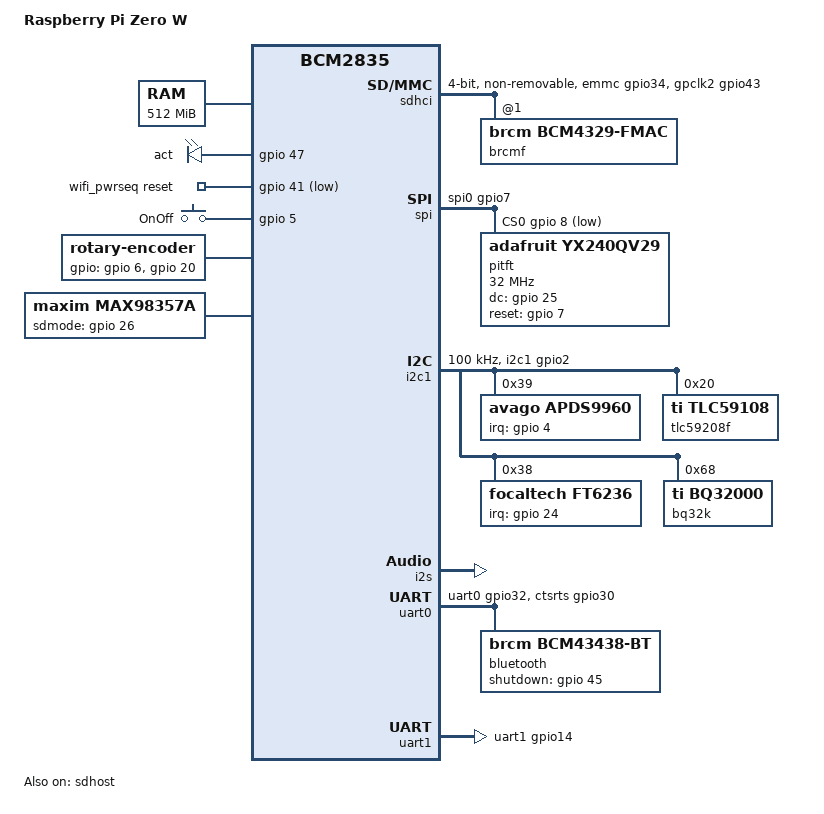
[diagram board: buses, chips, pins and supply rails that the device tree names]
// SPDX-License-Identifier: GPL-2.0+

/dts-v1/;
#include "bcm2835.dtsi"
#include "bcm2835-rpi.dtsi"
#include "bcm283x-rpi-usb-otg.dtsi"

#include <dt-bindings/input/input.h>

/ {
	compatible =
	"raspberrypi,model-zero-w",
	"brcm,bcm2835",
	"digitalrooster,3.0";
	model = "Raspberry Pi Zero W";

	memory@0 {
		device_type = "memory";
		reg = <0 0x20000000>;
	};

	/* uart1 is the serial console used during boot on gpio 14,15 */
	aliases {
		serial0 = &uart0;
		serial1 = &uart1;
	};

	chosen {
		/* 8250 auxiliary UART instead of pl011 */
		//stdout-path = "serial1:115200n8";
		/delete-property/ stdout-path;
		bootargs = "coherent_pool=1M 8250.nr_uarts=1";
	};

	leds {
		act {
			gpios = <&gpio 47 GPIO_ACTIVE_HIGH>;
		};
	};

	wifi_pwrseq: wifi-pwrseq {
		compatible = "mmc-pwrseq-simple";
		reset-gpios = <&gpio 41 GPIO_ACTIVE_LOW>;
	};
};

&gpio {
	audio_pins: audio_pins {
		/* PCM, LRCLK, DOUT, (DIN=GPIO20 not used, connector pin 39 */
		brcm,pins = <18 19 21>; /* Mk3 connector Pin 12,35,40 */
		brcm,function = <BCM2835_FSEL_ALT0>; /* BCM2835_FSEL_ALT0=4 */
	};

	apds_irq_pins {
		brcm,pins = <4>; /* GPIO 4 Mk3 connector Pin 7 */
		brcm,function = <BCM2835_FSEL_GPIO_IN>;
	};

	pitft_pins: pitft_pins {
		/* reset, Touch IRQ, dc-gpio */
		brcm,pins = <7 24 25>; /*  7=Pin 26, 24=Pin 18 25=Pin 22*/
		brcm,function = <
		BCM2835_FSEL_GPIO_OUT /* DC */
		BCM2835_FSEL_GPIO_IN  /* IRQ */
		BCM2835_FSEL_GPIO_OUT /* Reset */
		>;
	};

	rotary_pins: rotary_pins {
		brcm,pins = <6 20>; /* Mk3 connector Pin 31, Pin 38 */
		brcm,function = <BCM2835_FSEL_GPIO_IN
				 BCM2835_FSEL_GPIO_IN>;
		brcm,pull = <BCM2835_PUD_UP BCM2835_PUD_UP>; /* pull-up */
	};

	push_button_pins: push_button_pins {
		brcm,pins = <5>; /* Mk3 connector Pin 29 */
		brcm,function = <BCM2835_FSEL_GPIO_IN>; /* input */
		brcm,pull = <BCM2835_PUD_UP>; /* pull-up */
	};

	shutdown_n: shutdown_n {
		brcm,pins = <26>; /* Mk3: connector Pin 37 */
		brcm,function = <BCM2835_FSEL_GPIO_OUT>;
		brcm,pull = <BCM2835_PUD_UP>;
	};

	wl_on: wl-on {
		brcm,pins = <41>;
		brcm,function = <BCM2835_FSEL_GPIO_OUT>;
	};
};

&sdhci {
	#address-cells = <1>;
	#size-cells = <0>;
	pinctrl-names = "default";
	pinctrl-0 = <&emmc_gpio34     /* pins = <34 35 36 37 38 39> */
		     &gpclk2_gpio43>;
	bus-width = <4>;
	mmc-pwrseq = <&wifi_pwrseq>;
	non-removable;
	status = "okay";
	brcmf: wifi@1 {
		reg = <1>;
		compatible = "brcm,bcm4329-fmac";
		interrupt-parent =  <&gpio>;
	};
};

&sdhost {
	pinctrl-names = "default";
	pinctrl-0 = <&sdhost_gpio48>; /* pins <48 49 50 51 52 53> */
	non-removable;
	bus-width = <4>;
	status = "okay";
};

&spi {
	pinctrl-names = "default";
	pinctrl-0 = <&spi0_gpio7>; /* pins = <7 8 9 10 11>; */
	/*
	 * the SPI CS1 (gpio7) is wired to the reset line of PiTFT hence we
	 * cannot use it as second chip select
	 */
	cs-gpios = <&gpio 8 1>; /*, <&gpio 7 1>; */
	status = "okay";

	spidev0: spidev@0{
		compatible = "spidev";
		reg = <0>;	/* CE0 */
		#address-cells = <1>;
		#size-cells = <0>;
		spi-max-frequency = <125000000>;
		/* No user-space SPI dev, we don't have CS left */
		status = "disabled";
	};

	/* TINY DRM on Adafruit 2.8" TFT */
	pitft: pitft@0{
		compatible ="adafruit,yx240qv29", "ilitek,ili9341";
		status = "okay";
		/* common for tinydrm and framebuffer */
		reg = <0>;
		spi-max-frequency = <32000000>;
		rotation = <90>; /* Rotation for tinydrm driver */
		/* backlight = <&pwm_18_backlight>/* backlight tinydrm driver */
		/* GPIO assignments for tinydrm driver */
		dc-gpios = <&gpio 25 GPIO_ACTIVE_HIGH>;	 /* GPIO 25 Pin22   */
		/*
		 * Tinydrm driver needs a reset line. The display itself can
		 * do without. If you need a second CS you can use another
		 * GPIO here e.g. gpio 16
		 */
		reset-gpios = <&gpio 7 GPIO_ACTIVE_HIGH>; /* GPIO 7, Pin 26 */
		/* Properties of Framebuffer driver */
		/* rotate = <270>; */
		/* fps = <25>; */
		/* bgr; */
		/* buswidth = <8>; */
		/* debug = <1>; */
		/* pinctrl-0 = <&pitft_pins>; */
	};
};

&i2c1 {
	pinctrl-names = "default";
	pinctrl-0 = <&i2c1_gpio2>; /* pin <2 3> */
	clock-frequency = <100000>;
	status = "okay";

	/* APDS 9960 light, color, proximity sensor */
	apds9960: adps@39 {
		compatible = "avago,apds9960";
		reg = <0x39>;
		interrupt-parent = <&gpio>;
		/* GPIO 4 edge l->h (RISING=2) */
		interrupts = <4 IRQ_TYPE_EDGE_RISING>;
	};

	/* LED driver actually a TLC59208F but seems compatible */
	tlc59208f: tlc59208f@48 {
		compatible = "ti,tlc59108";
		reg = <0x20>; /* should be 0x42 */
		/* red */
		r@2 {
			label = "RGB:r";
			reg = <0x00>; /* mapped to i2c register 0x02 */
		};
		/* green */
		g@3 {
			label = "RGB:g";
			reg = <0x01>;
		};
		/* blue */
		b@4 {
			label = "RGB:b";
			reg = <0x02>;
		};
		/* amber */
		a@5 {
			label = "RGB:a";
			reg = <0x03>;
			/* linux,default-trigger = "activity"; */
		};
		/* backlight */
		bl@6{
			label = "bl";
			reg = <0x04>;
			/* linux,default-trigger = "backlight"; */
		};
	};

	/* I2C Touch controller */
	ft6236: ft6236@38 {
		compatible = "focaltech,ft6236";
		reg = <0x38>;
		interrupt-parent = <&gpio>;
		/* Mk3 connector Pin 18, touch irq (FALLING=2) */
		interrupts = <24 IRQ_TYPE_EDGE_FALLING>;
		touchscreen-size-x = <240>;
		touchscreen-size-y = <320>;
	};

	/* Real time clock */
	bq32k: rtc@68 {
		compatible = "ti,bq32000";
		reg = <0x68>;
		trickle-resistor-ohms = <1120>;
		/* trickle-diode-disable; */
	};
};

&i2s {
	#sound-dai-cells = <0>;
	pinctrl-names = "default";
	pinctrl-0 = <&audio_pins>;
	status = "okay";
};

/ {
	/* Pushbutton of Grayhill rotary encoder */
	gpiokeys: gpiokeys {
		label = "gpio-keys";
		compatible = "gpio-keys";
		OnOff {
			label = "OnOff";
			linux,code = <KEY_HOME>;
			gpios = <&gpio 5 GPIO_ACTIVE_HIGH>; /* Mk3a pin 29 */
		};
	};

	/* Grayhill Rotary encoder for volume */
	rotary_abs: rotary_abs {
		compatible = "rotary-encoder";
		label = "rotary-enc";
		status = "okay";
		pinctrl-names = "default";
		pinctrl-0 = <&rotary_pins>;
		gpios = <&gpio	6 GPIO_ACTIVE_HIGH>, /* Mk3 connector pin 31 */
			<&gpio 20 GPIO_ACTIVE_HIGH>; /* Mk3 connector pin 38 */
		linux,axis = <0>; /* REL_X */
		rotary-encoder,encoding = "gray";
		rotary-encoder,relative-axis;
		rotary-encoder,steps = <32>; /* 24 default */
		rotary-encoder,steps-per-period = <4>;
	};

	/* MAX98357A Codec */
	max98357a: max98357a0 {
		#sound-dai-cells = <0>;
		compatible = "maxim,max98357a";
		status = "okay";
		pinctrl-0 = <&shutdown_n>;
		/* GPIO 26 Pin 37 */
		sdmode-gpios = <&gpio 26 GPIO_ACTIVE_HIGH>; /* Mk3 pin 37*/
		sdmode-delay = <5>; /* deassert shutdown after 5ms */
	};

	/* default sound card */
	sound {
		compatible = "simple-audio-card";
		simple-audio-card,name = "snd-i2s-default";
		simple-audio-card,format = "i2s";
		/* simple-audio-card,bitclock-master = <&dai>; */
		/* simple-audio-card,frame-master = <&dai_cpu>; */
		simple-audio-card,mclk-fs  = <256>;
		status = "okay";

		dai_cpu: simple-audio-card,cpu {
			sound-dai = <&i2s>;
		};

		dai_codec: simple-audio-card,codec {
			sound-dai = <&max98357a>;
		};
	};
};

&uart0 {
	pinctrl-names = "default";
	pinctrl-0 = <&uart0_gpio32 &uart0_ctsrts_gpio30>;
	status = "okay";

	bluetooth {
		compatible = "brcm,bcm43438-bt";
		max-speed = <2000000>;
		shutdown-gpios = <&gpio 45 GPIO_ACTIVE_HIGH>;
	};
};

&uart1 {
	/* primary UART for boot console */
	pinctrl-names = "default";
	pinctrl-0 = <&uart1_gpio14>; /* pins = <14 15> */
	status = "okay";
};
